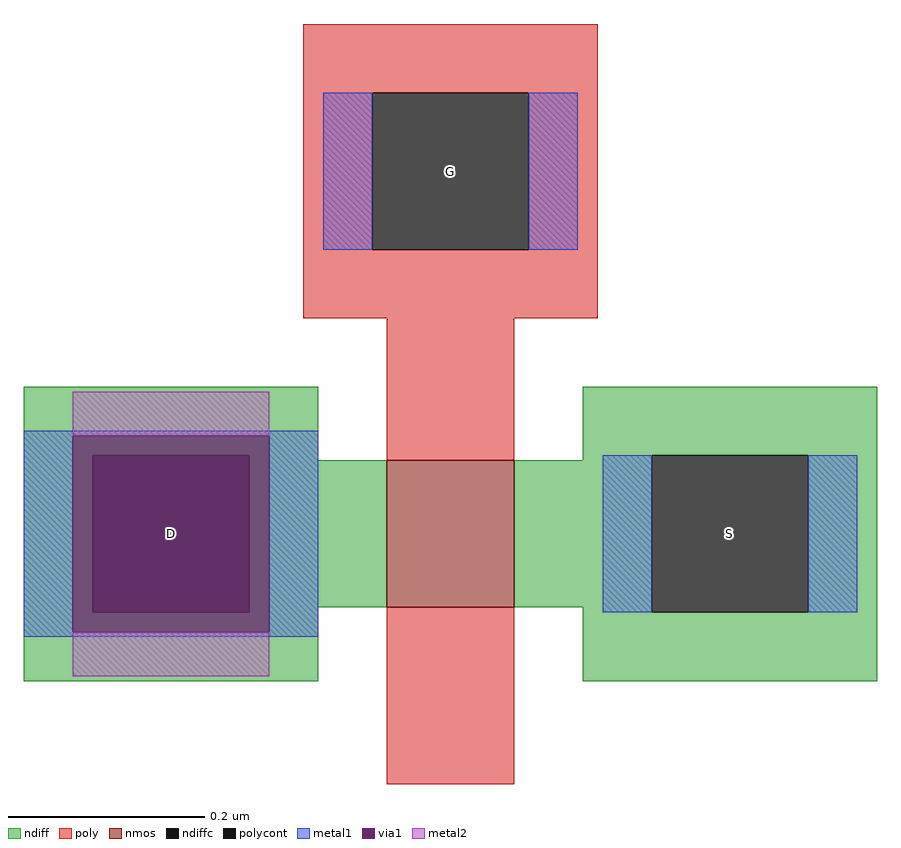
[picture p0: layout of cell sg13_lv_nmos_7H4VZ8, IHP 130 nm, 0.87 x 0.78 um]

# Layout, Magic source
magic
tech ihp-sg13g2
magscale 1 2
<< nmos >>
rect -13 -42 13 -12
<< ndiff >>
rect -87 -11 -27 3
rect -87 -43 -73 -11
rect -41 -12 -27 -11
rect 27 -11 87 3
rect 27 -12 41 -11
rect -41 -42 -13 -12
rect 13 -42 41 -12
rect -41 -43 -27 -42
rect -87 -57 -27 -43
rect 27 -43 41 -42
rect 73 -43 87 -11
rect 27 -57 87 -43
<< ndiffc >>
rect -73 -43 -41 -11
rect 41 -43 73 -11
<< poly >>
rect -30 63 30 77
rect -30 31 -16 63
rect 16 31 30 63
rect -30 17 30 31
rect -13 -12 13 17
rect -13 -78 13 -42
<< polycont >>
rect -16 31 16 63
<< metal1 >>
rect -26 31 -16 63
rect 16 31 26 63
rect -87 -7 -27 -6
rect -87 -47 -77 -7
rect -37 -47 -27 -7
rect 31 -43 41 -11
rect 73 -43 83 -11
rect -87 -48 -27 -47
<< via1 >>
rect -77 -11 -37 -7
rect -77 -43 -73 -11
rect -73 -43 -41 -11
rect -41 -43 -37 -11
rect -77 -47 -37 -43
<< metal2 >>
rect -77 -7 -37 2
rect -77 -56 -37 -47
<< labels >>
rlabel ndiffc -57 -27 -57 -27 0 D
port 1 nsew
rlabel ndiffc 57 -27 57 -27 0 S
port 2 nsew
rlabel polycont 0 47 0 47 0 G
port 3 nsew
<< properties >>
string gencell sg13_lv_nmos
string library sg13g2
string parameters w 0.15 l 0.13 m 1 nf 1 diffcov 100 polycov 100 guard 0 glc 1 grc 1 gtc 1 gbc 1 tbcov 100 rlcov 100 topc 1 botc 0 poverlap 0 doverlap 1 lmin 0.13 wmin 0.15 class mosfet compatible {sg13_lv_nmos sg13_hv_nmos} full_metal 1 conn_gates 0 gate_ring 0 doports 1 viasrc 0 viadrn 100 viagate 0 ccols 1 viagb 0 viagr 0 viagl 0 viagt 0
<< end >>
